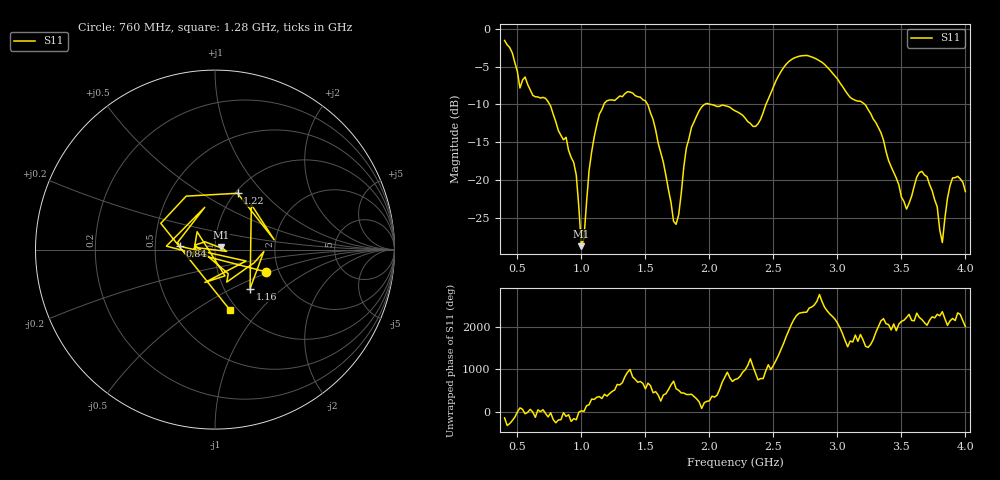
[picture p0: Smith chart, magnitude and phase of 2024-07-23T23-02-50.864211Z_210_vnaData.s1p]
!Created with skrf (http://scikit-rf.org).
# Hz S RI R 50.0
!freq ReS11 ImS11
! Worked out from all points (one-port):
!   181 points, 400 MHz to 4 GHz, reference 50 ohm
!   lowest |S11| = -28.8 dB at 1 GHz (marker M1), VSWR 1.08, Z = 53.4 + j1.57 ohm
!   |S11| at or under -10 dB: 1.517 GHz to 1.963 GHz (445.6 MHz wide, 25.6 % of centre); 2.01 GHz to 2.442 GHz (431.5 MHz wide, 19.4 % of centre); 3.214 GHz to end of sweep (the widest 3 of 4)
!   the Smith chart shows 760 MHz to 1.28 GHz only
!   S11 on the Smith chart (normalised r, x): 760 MHz: 1.70, -0.46; 840 MHz: 0.67, +0.03; 1.16 GHz: 1.32, -0.63; 1.22 GHz: 1.03, +0.73; 1.28 GHz: 0.92, -0.71
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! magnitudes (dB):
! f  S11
! 400 MHz  -1.5
! 520 MHz  -7.8
! 760 MHz  -10.3
! 840 MHz  -14.1
! 860 MHz  -14.7
! 960 MHz  -19.4
! 1 GHz  -28.8
! 1.02 GHz  -27.7
! 1.08 GHz  -16.3
! 1.16 GHz  -10.7
! 1.22 GHz  -9.4
! 1.28 GHz  -9.2
! 1.3 GHz  -8.9
! 1.52 GHz  -10.1
! 1.72 GHz  -25.5
! 1.76 GHz  -24.6
! 1.82 GHz  -15.8
! 1.92 GHz  -10.8
! 2.2 GHz  -10.8
! 2.36 GHz  -12.9
! 2.66 GHz  -3.9
! 3.1 GHz  -9.1
! 3.3 GHz  -12.4
! 3.56 GHz  -23.1
! 3.7 GHz  -19.6
! 3.82 GHz  -28.3
! 3.9 GHz  -19.7
! 4 GHz  -21.6
